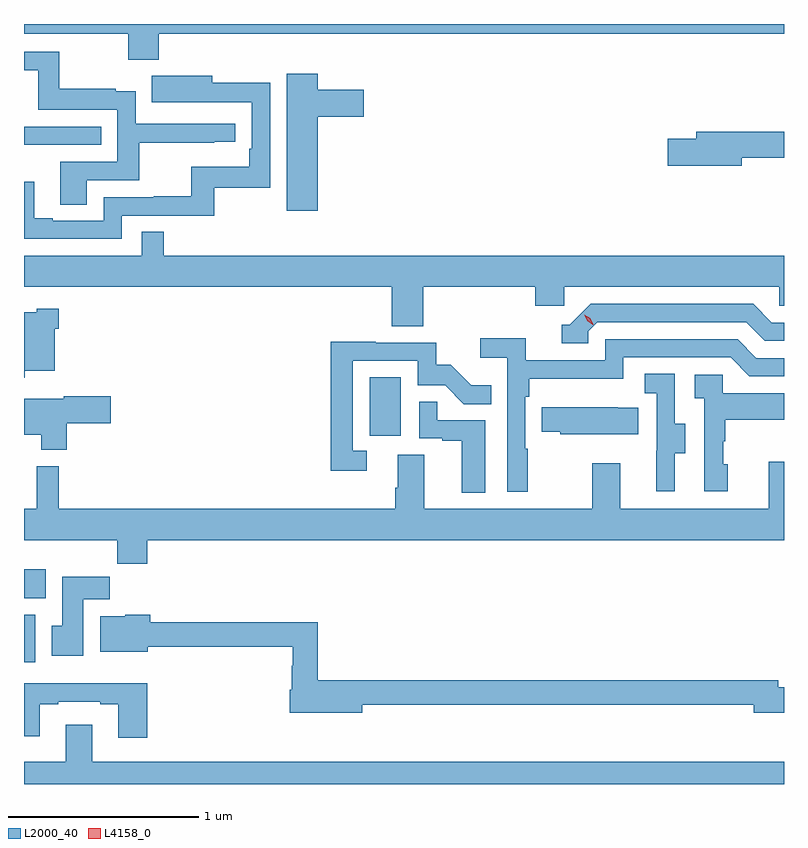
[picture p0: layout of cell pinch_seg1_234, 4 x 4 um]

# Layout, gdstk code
import gdstk
lib = gdstk.Library(unit=1e-6, precision=1e-09)
def R(c, l, rs):  # rectangles x0, y0, x1, y1
    for r in rs: c.add(gdstk.rectangle(r[:2], r[2:], *l))
def P(c, l, *ps):  # polygons
    for p in ps: c.add(gdstk.Polygon(p, *l))
L2000_40 = (2000, 40)
L4158_0 = (4158, 0)

pinch_seg1_234 = lib.new_cell('pinch_seg1_234')
R(pinch_seg1_234, L2000_40, [(927.181,563.076,927.241,563.326), (927.181,563.414,927.295,563.566), (929,564.27,929.164,564.577), (927.181,565.8,927.587,565.896)])
P(pinch_seg1_234, L2000_40, [(927.89,566.384),(931.181,566.384),(931.181,566.436),(927.181,566.436),(927.181,566.384),(927.73,566.384),(927.73,566.249),(927.89,566.249)],
  [(927.511,565.614),(927.788,565.614),(927.788,565.81),(928.181,565.81),(928.181,565.815),(928.294,565.815),(928.294,565.911),(927.768,565.911),(927.768,566.083),(927.665,566.083),(927.665,566.095),(927.367,566.095),(927.367,566.289),(927.181,566.289),(927.181,566.192),(927.256,566.192),(927.256,565.986),(927.672,565.986),(927.672,565.71),(927.371,565.71),(927.371,565.486),(927.511,565.486)],
  [(928.726,565.949),(928.969,565.949),(928.969,566.091),(928.726,566.091),(928.726,566.173),(928.565,566.173),(928.565,565.452),(928.726,565.452)],
  [(927.696,565.428),(928.183,565.428),(928.183,565.575),(928.476,565.575),(928.476,566.126),(928.171,566.126),(928.171,566.164),(927.853,566.164),(927.853,566.024),(928.067,566.024),(928.067,566.025),(928.38,566.025),(928.38,565.78),(928.367,565.78),(928.367,565.684),(928.062,565.684),(928.062,565.529),(927.865,565.529),(927.865,565.524),(927.6,565.524),(927.6,565.401),(927.331,565.401),(927.331,565.414),(927.235,565.414),(927.235,565.607),(927.181,565.607),(927.181,565.305),(927.696,565.305)],
  [(930.958,565.732),(931.181,565.732),(931.181,565.868),(930.719,565.868),(930.719,565.832),(930.57,565.832),(930.57,565.69),(930.958,565.69)],
  [(929.282,565.052),(929.873,565.052),(929.873,564.954),(930.024,564.954),(930.024,565.052),(931.155,565.052),(931.155,564.954),(931.181,564.954),(931.181,565.216),(927.917,565.216),(927.917,565.343),(927.801,565.343),(927.801,565.216),(927.181,565.216),(927.181,565.052),(929.117,565.052),(929.117,564.844),(929.282,564.844)],
  [(930.15,564.819),(930.198,564.867),(930.981,564.867),(931.08,564.768),(931.181,564.768),(931.181,564.864),(931.117,564.864),(931.018,564.963),(930.165,564.963),(930.054,564.852),(930.011,564.852),(930.011,564.756),(930.15,564.756)],
  [(927.184,564.611),(927.343,564.611),(927.343,564.833),(927.365,564.833),(927.365,564.937),(927.249,564.937),(927.249,564.919),(927.181,564.919),(927.181,564.575),(927.184,564.575)],
  [(929.833,564.2),(929.82,564.2),(929.82,564.473),(929.84,564.473),(929.84,564.569),(930.336,564.569),(930.336,564.681),(930.9,564.681),(930.999,564.582),(931.181,564.582),(931.181,564.678),(931.036,564.678),(930.937,564.777),(930.24,564.777),(930.24,564.666),(929.822,564.666),(929.822,564.782),(929.583,564.782),(929.583,564.68),(929.724,564.68),(929.724,563.973),(929.833,563.973)],
  [(928.984,564.189),(928.911,564.189),(928.911,564.663),(929.253,564.663),(929.253,564.534),(929.398,564.534),(929.496,564.436),(929.639,564.436),(929.639,564.535),(929.535,564.535),(929.428,564.642),(929.352,564.642),(929.352,564.759),(929.033,564.759),(929.033,564.764),(928.795,564.764),(928.795,564.084),(928.984,564.084)],
  [(930.607,564.178),(930.661,564.178),(930.661,564.333),(930.606,564.333),(930.606,564.596),(930.447,564.596),(930.447,564.493),(930.51,564.493),(930.51,564.189),(930.509,564.189),(930.509,563.976),(930.607,563.976)],
  [(930.886,564.12),(930.861,564.12),(930.861,564.239),(930.871,564.239),(930.871,564.353),(931.181,564.353),(931.181,564.493),(930.858,564.493),(930.858,564.591),(930.711,564.591),(930.711,564.467),(930.762,564.467),(930.762,563.976),(930.886,563.976)],
  [(927.407,564.334),(927.637,564.334),(927.637,564.476),(927.39,564.476),(927.39,564.463),(927.181,564.463),(927.181,564.275),(927.272,564.275),(927.272,564.194),(927.407,564.194)],
  [(929.608,564.351),(929.357,564.351),(929.357,564.449),(929.262,564.449),(929.262,564.255),(929.383,564.255),(929.383,564.243),(929.486,564.243),(929.486,563.969),(929.608,563.969)],
  [(930.413,564.415),(930.305,564.415),(930.305,564.418),(929.905,564.418),(929.905,564.289),(930.003,564.289),(930.003,564.278),(930.413,564.278)],
  [(927.83,563.72),(931.181,563.72),(931.181,564.133),(931.1,564.133),(931.1,563.884),(930.319,563.884),(930.319,564.124),(930.172,564.124),(930.172,563.884),(929.287,563.884),(929.287,564.17),(929.147,564.17),(929.147,563.996),(929.135,563.996),(929.135,563.884),(927.365,563.884),(927.365,564.109),(927.248,564.109),(927.248,563.884),(927.181,563.884),(927.181,563.72),(927.673,563.72),(927.673,563.596),(927.83,563.596)],
  [(927.493,563.408),(927.632,563.408),(927.632,563.527),(927.383,563.527),(927.383,563.268),(927.326,563.268),(927.326,563.112),(927.493,563.112)],
  [(928.96,562.854),(931.022,562.854),(931.022,562.811),(931.181,562.811),(931.181,562.946),(931.15,562.946),(931.15,562.982),(928.727,562.982),(928.727,563.287),(927.845,563.287),(927.845,563.326),(927.714,563.326),(927.714,563.32),(927.581,563.32),(927.581,563.132),(927.832,563.132),(927.832,563.158),(928.595,563.158),(928.595,563.059),(928.591,563.059),(928.591,562.933),(928.58,562.933),(928.58,562.811),(928.96,562.811)],
  [(927.83,562.966),(927.181,562.966),(927.181,562.688),(927.265,562.688),(927.265,562.857),(927.361,562.857),(927.361,562.869),(927.581,562.869),(927.581,562.857),(927.677,562.857),(927.677,562.68),(927.83,562.68)],
  [(931.181,562.552),(927.541,562.552),(927.541,562.747),(927.401,562.747),(927.401,562.552),(927.181,562.552),(927.181,562.436),(931.181,562.436)])
P(pinch_seg1_234, L4158_0, [(930.175,564.854),(930.145,564.874),(930.129,564.907),(930.129,564.907),(930.129,564.907),(930.16,564.888),(930.176,564.855),(930.176,564.854)])

lib.write_gds('pinch_seg1_234.gds')
